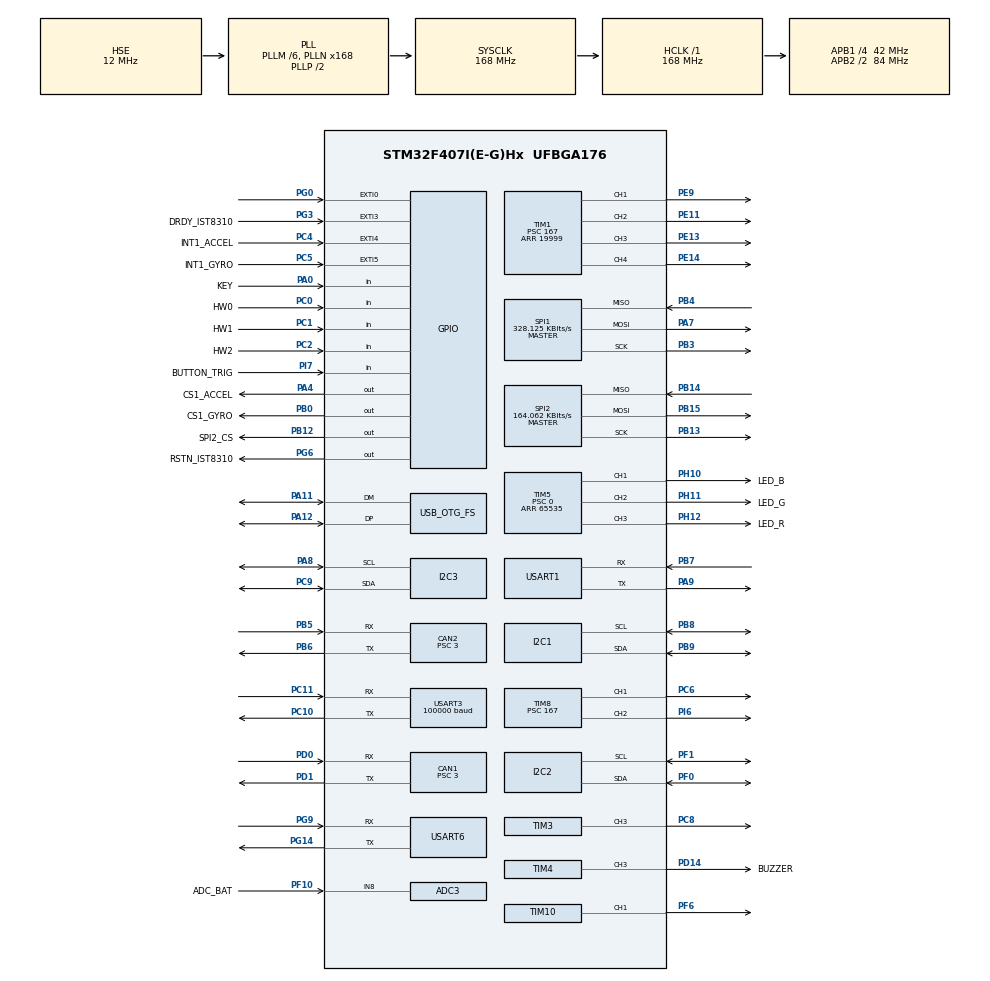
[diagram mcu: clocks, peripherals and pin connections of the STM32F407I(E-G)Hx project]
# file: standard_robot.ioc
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ADC1.Channel-0\#ChannelRegularConversion=ADC_CHANNEL_TEMPSENSOR
ADC1.ClockPrescaler=ADC_CLOCK_SYNC_PCLK_DIV6
ADC1.NbrOfConversionFlag=1
ADC1.Rank-0\#ChannelRegularConversion=1
ADC1.SamplingTime-0\#ChannelRegularConversion=ADC_SAMPLETIME_3CYCLES
ADC1.master=1
ADC3.Channel-0\#ChannelRegularConversion=ADC_CHANNEL_8
ADC3.ClockPrescaler=ADC_CLOCK_SYNC_PCLK_DIV6
ADC3.NbrOfConversionFlag=1
ADC3.Rank-0\#ChannelRegularConversion=1
ADC3.SamplingTime-0\#ChannelRegularConversion=ADC_SAMPLETIME_3CYCLES
CAN1.BS1=CAN_BS1_10TQ
CAN1.BS2=CAN_BS2_3TQ
CAN1.CalculateBaudRate=1000000
CAN1.CalculateTimeQuantum=71.42857142857143
CAN1.Prescaler=3
CAN2.BS1=CAN_BS1_10TQ
CAN2.BS2=CAN_BS2_3TQ
CAN2.CalculateBaudRate=1000000
CAN2.CalculateTimeQuantum=71.42857142857143
CAN2.Prescaler=3
Dma.I2C2_TX.2.Direction=DMA_MEMORY_TO_PERIPH
Dma.I2C2_TX.2.FIFOMode=DMA_FIFOMODE_DISABLE
Dma.I2C2_TX.2.Instance=DMA1_Stream7
Dma.I2C2_TX.2.MemDataAlignment=DMA_MDATAALIGN_BYTE
Dma.I2C2_TX.2.MemInc=DMA_MINC_ENABLE
Dma.I2C2_TX.2.Mode=DMA_NORMAL
Dma.I2C2_TX.2.PeriphDataAlignment=DMA_PDATAALIGN_BYTE
Dma.I2C2_TX.2.PeriphInc=DMA_PINC_DISABLE
Dma.I2C2_TX.2.Priority=DMA_PRIORITY_HIGH
Dma.Request0=SPI1_RX
Dma.Request1=SPI1_TX
Dma.Request2=I2C2_TX
Dma.Request3=USART3_RX
Dma.Request4=USART6_RX
Dma.Request5=USART6_TX
Dma.Request6=USART1_TX
Dma.Request7=USART1_RX
Dma.SPI1_RX.0.Direction=DMA_PERIPH_TO_MEMORY
Dma.SPI1_RX.0.FIFOMode=DMA_FIFOMODE_DISABLE
Dma.SPI1_RX.0.Instance=DMA2_Stream2
Dma.SPI1_RX.0.MemDataAlignment=DMA_MDATAALIGN_BYTE
Dma.SPI1_RX.0.MemInc=DMA_MINC_ENABLE
Dma.SPI1_RX.0.Mode=DMA_NORMAL
Dma.SPI1_RX.0.PeriphDataAlignment=DMA_PDATAALIGN_BYTE
Dma.SPI1_RX.0.PeriphInc=DMA_PINC_DISABLE
Dma.SPI1_RX.0.Priority=DMA_PRIORITY_VERY_HIGH
Dma.SPI1_TX.1.Direction=DMA_MEMORY_TO_PERIPH
Dma.SPI1_TX.1.FIFOMode=DMA_FIFOMODE_DISABLE
Dma.SPI1_TX.1.Instance=DMA2_Stream3
Dma.SPI1_TX.1.MemDataAlignment=DMA_MDATAALIGN_BYTE
Dma.SPI1_TX.1.MemInc=DMA_MINC_ENABLE
Dma.SPI1_TX.1.Mode=DMA_NORMAL
Dma.SPI1_TX.1.PeriphDataAlignment=DMA_PDATAALIGN_BYTE
Dma.SPI1_TX.1.PeriphInc=DMA_PINC_DISABLE
Dma.SPI1_TX.1.Priority=DMA_PRIORITY_HIGH
Dma.USART1_RX.7.Direction=DMA_PERIPH_TO_MEMORY
Dma.USART1_RX.7.FIFOMode=DMA_FIFOMODE_DISABLE
Dma.USART1_RX.7.Instance=DMA2_Stream5
Dma.USART1_RX.7.MemDataAlignment=DMA_MDATAALIGN_BYTE
Dma.USART1_RX.7.MemInc=DMA_MINC_ENABLE
Dma.USART1_RX.7.Mode=DMA_CIRCULAR
Dma.USART1_RX.7.PeriphDataAlignment=DMA_PDATAALIGN_BYTE
Dma.USART1_RX.7.PeriphInc=DMA_PINC_DISABLE
Dma.USART1_RX.7.Priority=DMA_PRIORITY_MEDIUM
Dma.USART1_TX.6.Direction=DMA_MEMORY_TO_PERIPH
Dma.USART1_TX.6.FIFOMode=DMA_FIFOMODE_DISABLE
Dma.USART1_TX.6.Instance=DMA2_Stream7
Dma.USART1_TX.6.MemDataAlignment=DMA_MDATAALIGN_BYTE
Dma.USART1_TX.6.MemInc=DMA_MINC_ENABLE
Dma.USART1_TX.6.Mode=DMA_NORMAL
Dma.USART1_TX.6.PeriphDataAlignment=DMA_PDATAALIGN_BYTE
Dma.USART1_TX.6.PeriphInc=DMA_PINC_DISABLE
Dma.USART1_TX.6.Priority=DMA_PRIORITY_MEDIUM
Dma.USART3_RX.3.Direction=DMA_PERIPH_TO_MEMORY
Dma.USART3_RX.3.FIFOMode=DMA_FIFOMODE_DISABLE
Dma.USART3_RX.3.Instance=DMA1_Stream1
Dma.USART3_RX.3.MemDataAlignment=DMA_MDATAALIGN_BYTE
Dma.USART3_RX.3.MemInc=DMA_MINC_ENABLE
Dma.USART3_RX.3.Mode=DMA_NORMAL
Dma.USART3_RX.3.PeriphDataAlignment=DMA_PDATAALIGN_BYTE
Dma.USART3_RX.3.PeriphInc=DMA_PINC_DISABLE
Dma.USART3_RX.3.Priority=DMA_PRIORITY_HIGH
Dma.USART6_RX.4.Direction=DMA_PERIPH_TO_MEMORY
Dma.USART6_RX.4.FIFOMode=DMA_FIFOMODE_DISABLE
Dma.USART6_RX.4.Instance=DMA2_Stream1
Dma.USART6_RX.4.MemDataAlignment=DMA_MDATAALIGN_BYTE
Dma.USART6_RX.4.MemInc=DMA_MINC_ENABLE
Dma.USART6_RX.4.Mode=DMA_NORMAL
Dma.USART6_RX.4.PeriphDataAlignment=DMA_PDATAALIGN_BYTE
Dma.USART6_RX.4.PeriphInc=DMA_PINC_DISABLE
Dma.USART6_RX.4.Priority=DMA_PRIORITY_HIGH
Dma.USART6_TX.5.Direction=DMA_MEMORY_TO_PERIPH
Dma.USART6_TX.5.FIFOMode=DMA_FIFOMODE_DISABLE
Dma.USART6_TX.5.Instance=DMA2_Stream6
Dma.USART6_TX.5.MemDataAlignment=DMA_MDATAALIGN_BYTE
Dma.USART6_TX.5.MemInc=DMA_MINC_ENABLE
Dma.USART6_TX.5.Mode=DMA_NORMAL
Dma.USART6_TX.5.PeriphDataAlignment=DMA_PDATAALIGN_BYTE
Dma.USART6_TX.5.PeriphInc=DMA_PINC_DISABLE
Dma.USART6_TX.5.Priority=DMA_PRIORITY_MEDIUM
FREERTOS.INCLUDE_eTaskGetState=1
FREERTOS.INCLUDE_pcTaskGetTaskName=1
FREERTOS.INCLUDE_uxTaskGetStackHighWaterMark=1
FREERTOS.INCLUDE_vTaskCleanUpResources=1
FREERTOS.INCLUDE_vTaskDelayUntil=1
FREERTOS.INCLUDE_xEventGroupSetBitFromISR=1
FREERTOS.INCLUDE_xQueueGetMutexHolder=1
FREERTOS.INCLUDE_xSemaphoreGetMutexHolder=1
FREERTOS.INCLUDE_xTaskAbortDelay=1
FREERTOS.INCLUDE_xTaskGetCurrentTaskHandle=1
FREERTOS.INCLUDE_xTaskGetHandle=1
FREERTOS.INCLUDE_xTimerPendFunctionCall=1
FREERTOS.Tasks01=test,24,128,test_task,As weak,NULL,Dynamic,NULL,NULL
FREERTOS.configTOTAL_HEAP_SIZE=24576
I2C1.I2C_Mode=I2C_Fast
I2C2.I2C_Mode=I2C_Fast
I2C3.I2C_Mode=I2C_Fast
Mcu.Family=STM32F4
Mcu.Name=STM32F407I(E-G)Hx
Mcu.Package=UFBGA176
NVIC.CAN1_RX0_IRQn=true\:6\:0\:true\:false\:true\:true\:true\:true\:true
NVIC.CAN2_RX0_IRQn=true\:6\:0\:true\:false\:true\:true\:true\:true\:true
NVIC.DMA1_Stream1_IRQn=true\:5\:0\:true\:false\:false\:true\:false\:false\:true
NVIC.DMA1_Stream7_IRQn=true\:5\:0\:true\:false\:false\:true\:false\:true\:true
NVIC.DMA2_Stream1_IRQn=true\:5\:0\:true\:false\:true\:true\:false\:true\:true
NVIC.DMA2_Stream2_IRQn=true\:5\:0\:true\:false\:false\:true\:false\:true\:true
NVIC.DMA2_Stream3_IRQn=true\:5\:0\:true\:false\:false\:true\:false\:true\:true
NVIC.DMA2_Stream5_IRQn=true\:5\:0\:false\:false\:true\:true\:false\:true\:true
NVIC.DMA2_Stream6_IRQn=true\:5\:0\:true\:false\:true\:true\:false\:true\:true
NVIC.DMA2_Stream7_IRQn=true\:5\:0\:true\:false\:true\:true\:false\:true\:true
NVIC.EXTI0_IRQn=true\:6\:0\:true\:false\:true\:true\:true\:true\:true
NVIC.EXTI3_IRQn=true\:5\:0\:true\:false\:true\:true\:true\:true\:true
NVIC.EXTI4_IRQn=true\:5\:0\:true\:false\:true\:true\:true\:true\:true
NVIC.EXTI9_5_IRQn=true\:5\:0\:true\:false\:true\:true\:true\:true\:true
NVIC.OTG_FS_IRQn=true\:5\:0\:false\:false\:true\:true\:false\:true\:true
NVIC.PriorityGroup=NVIC_PRIORITYGROUP_4
NVIC.USART1_IRQn=true\:5\:0\:false\:false\:true\:true\:true\:true\:true
NVIC.USART3_IRQn=true\:4\:0\:true\:false\:false\:false\:true\:true\:true
NVIC.USART6_IRQn=true\:5\:0\:true\:false\:false\:true\:true\:true\:true
PA0-WKUP.GPIO_Label=KEY
PA0-WKUP.GPIO_PuPd=GPIO_PULLUP
PA0-WKUP.Signal=GPIO_Input
PA11.Mode=Device_Only
PA11.Signal=USB_OTG_FS_DM
PA12.Mode=Device_Only
PA12.Signal=USB_OTG_FS_DP
PA13.Mode=Serial_Wire
PA13.Signal=SYS_JTMS-SWDIO
PA14.Mode=Serial_Wire
PA14.Signal=SYS_JTCK-SWCLK
PA4.GPIO_Label=CS1_ACCEL
PA4.GPIO_PuPd=GPIO_PULLUP
PA4.GPIO_Speed=GPIO_SPEED_FREQ_HIGH
PA4.PinState=GPIO_PIN_SET
PA4.Signal=GPIO_Output
PA7.GPIO_PuPd=GPIO_PULLUP
PA7.Mode=Full_Duplex_Master
PA7.Signal=SPI1_MOSI
PA8.GPIO_Pu=GPIO_PULLUP
PA8.Mode=I2C
PA8.Signal=I2C3_SCL
PA9.Mode=Asynchronous
PA9.Signal=USART1_TX
PB0.GPIO_Label=CS1_GYRO
PB0.GPIO_PuPd=GPIO_PULLUP
PB0.GPIO_Speed=GPIO_SPEED_FREQ_HIGH
PB0.PinState=GPIO_PIN_SET
PB0.Signal=GPIO_Output
PB12.GPIO_Label=SPI2_CS
PB12.GPIO_PuPd=GPIO_PULLUP
PB12.GPIO_Speed=GPIO_SPEED_FREQ_MEDIUM
PB12.PinState=GPIO_PIN_SET
PB12.Signal=GPIO_Output
PB13.GPIO_PuPd=GPIO_PULLUP
PB13.Mode=Full_Duplex_Master
PB13.Signal=SPI2_SCK
PB14.GPIO_PuPd=GPIO_PULLUP
PB14.Mode=Full_Duplex_Master
PB14.Signal=SPI2_MISO
PB15.GPIO_PuPd=GPIO_PULLUP
PB15.Mode=Full_Duplex_Master
PB15.Signal=SPI2_MOSI
PB3.GPIO_PuPd=GPIO_PULLUP
PB3.Mode=Full_Duplex_Master
PB3.Signal=SPI1_SCK
PB4.GPIO_PuPd=GPIO_PULLUP
PB4.Mode=Full_Duplex_Master
PB4.Signal=SPI1_MISO
PB5.Mode=CAN_Activate
PB5.Signal=CAN2_RX
PB6.Mode=CAN_Activate
PB6.Signal=CAN2_TX
PB7.Mode=Asynchronous
PB7.Signal=USART1_RX
PB8.GPIO_Pu=GPIO_PULLUP
PB8.Mode=I2C
PB8.Signal=I2C1_SCL
PB9.GPIO_Pu=GPIO_PULLUP
PB9.Mode=I2C
PB9.Signal=I2C1_SDA
PC0.GPIO_Label=HW0
PC0.Signal=GPIO_Input
PC1.GPIO_Label=HW1
PC1.Signal=GPIO_Input
PC10.Mode=Asynchronous
PC10.Signal=USART3_TX
PC11.Mode=Asynchronous
PC11.Signal=USART3_RX
PC2.GPIO_Label=HW2
PC2.Signal=GPIO_Input
PC4.GPIO_Label=INT1_ACCEL
PC4.GPIO_ModeDefaultEXTI=GPIO_MODE_IT_FALLING
PC4.GPIO_PuPd=GPIO_PULLUP
PC4.Signal=GPXTI4
PC5.GPIO_Label=INT1_GYRO
PC5.GPIO_ModeDefaultEXTI=GPIO_MODE_IT_FALLING
PC5.GPIO_PuPd=GPIO_PULLUP
PC5.Signal=GPXTI5
PC6.GPIO_PuPd=GPIO_PULLUP
PC6.GPIO_Speed=GPIO_SPEED_FREQ_HIGH
PC6.Signal=S_TIM8_CH1
PC8.GPIO_PuPd=GPIO_PULLUP
PC8.GPIO_Speed=GPIO_SPEED_FREQ_HIGH
PC8.Signal=S_TIM3_CH3
PC9.GPIO_Pu=GPIO_PULLUP
PC9.Mode=I2C
PC9.Signal=I2C3_SDA
PD0.Mode=CAN_Activate
PD0.Signal=CAN1_RX
PD1.Mode=CAN_Activate
PD1.Signal=CAN1_TX
PD14.GPIO_Label=BUZZER
PD14.GPIO_PuPd=GPIO_PULLUP
PD14.GPIO_Speed=GPIO_SPEED_FREQ_VERY_HIGH
PD14.Signal=S_TIM4_CH3
PE11.GPIO_PuPd=GPIO_PULLUP
PE11.GPIO_Speed=GPIO_SPEED_FREQ_HIGH
PE11.Signal=S_TIM1_CH2
PE13.GPIO_PuPd=GPIO_PULLUP
PE13.GPIO_Speed=GPIO_SPEED_FREQ_HIGH
PE13.Signal=S_TIM1_CH3
PE14.GPIO_PuPd=GPIO_PULLUP
PE14.GPIO_Speed=GPIO_SPEED_FREQ_HIGH
PE14.Signal=S_TIM1_CH4
PE9.GPIO_PuPd=GPIO_PULLUP
PE9.GPIO_Speed=GPIO_SPEED_FREQ_HIGH
PE9.Signal=S_TIM1_CH1
PF0.GPIO_Pu=GPIO_PULLUP
PF0.Mode=I2C
PF0.Signal=I2C2_SDA
PF1.GPIO_Pu=GPIO_PULLUP
PF1.Mode=I2C
PF1.Signal=I2C2_SCL
PF10.GPIO_Label=ADC_BAT
PF10.Mode=IN8
PF10.Signal=ADC3_IN8
PF6.GPIO_PuPd=GPIO_PULLUP
PF6.GPIO_Speed=GPIO_SPEED_FREQ_HIGH
PF6.Signal=S_TIM10_CH1
PG0.GPIO_ModeDefaultEXTI=GPIO_MODE_IT_FALLING
PG0.GPIO_PuPd=GPIO_PULLUP
PG0.Signal=GPXTI0
PG14.Mode=Asynchronous
PG14.Signal=USART6_TX
PG3.GPIO_Label=DRDY_IST8310
PG3.GPIO_ModeDefaultEXTI=GPIO_MODE_IT_FALLING
PG3.GPIO_PuPd=GPIO_PULLUP
PG3.Signal=GPXTI3
PG6.GPIO_Label=RSTN_IST8310
PG6.GPIO_PuPd=GPIO_PULLUP
PG6.GPIO_Speed=GPIO_SPEED_FREQ_MEDIUM
PG6.PinState=GPIO_PIN_SET
PG6.Signal=GPIO_Output
PG9.Mode=Asynchronous
PG9.Signal=USART6_RX
PH0-OSC_IN.Mode=HSE-External-Oscillator
PH0-OSC_IN.Signal=RCC_OSC_IN
PH1-OSC_OUT.Mode=HSE-External-Oscillator
PH1-OSC_OUT.Signal=RCC_OSC_OUT
PH10.GPIO_Label=LED_B
PH10.GPIO_PuPd=GPIO_PULLUP
PH10.GPIO_Speed=GPIO_SPEED_FREQ_HIGH
PH10.Signal=S_TIM5_CH1
PH11.GPIO_Label=LED_G
PH11.GPIO_PuPd=GPIO_PULLUP
PH11.GPIO_Speed=GPIO_SPEED_FREQ_HIGH
PH11.Signal=S_TIM5_CH2
PH12.GPIO_Label=LED_R
PH12.GPIO_PuPd=GPIO_PULLUP
PH12.GPIO_Speed=GPIO_SPEED_FREQ_HIGH
PH12.Signal=S_TIM5_CH3
PI6.GPIO_PuPd=GPIO_PULLUP
PI6.GPIO_Speed=GPIO_SPEED_FREQ_HIGH
PI6.Signal=S_TIM8_CH2
PI7.GPIO_Label=BUTTON_TRIG
PI7.GPIO_PuPd=GPIO_PULLUP
PI7.Signal=GPIO_Input
ProjectManager.HeapSize=0x2000
ProjectManager.StackSize=0x2000
ProjectManager.TargetToolchain=CMake
RCC.48MHZClocksFreq_Value=48000000
RCC.AHBFreq_Value=168000000
RCC.APB1CLKDivider=RCC_HCLK_DIV4
RCC.APB1Freq_Value=42000000
RCC.APB1TimFreq_Value=84000000
RCC.APB2CLKDivider=RCC_HCLK_DIV2
RCC.APB2Freq_Value=84000000
RCC.APB2TimFreq_Value=168000000
RCC.CortexFreq_Value=168000000
RCC.HCLKFreq_Value=168000000
RCC.HSE_VALUE=12000000
RCC.HSI_VALUE=16000000
RCC.LSE_VALUE=32768
RCC.PLLM=6
RCC.PLLN=168
RCC.PLLQ=7
RCC.RCC_RTC_Clock_SourceVirtual=RCC_RTCCLKSOURCE_HSE_DIV30
RCC.RCC_RTC_Clock_Source_FROM_HSE=RCC_RTCCLKSOURCE_HSE_DIV30
RCC.SYSCLKFreq_VALUE=168000000
RCC.SYSCLKSource=RCC_SYSCLKSOURCE_PLLCLK
RCC.VCOOutputFreq_Value=336000000
RTC.AsynchPrediv=124
RTC.SynchPrediv=3199
SH.S_TIM10_CH1.0=TIM10_CH1,PWM Generation1 CH1
SH.S_TIM1_CH1.0=TIM1_CH1,PWM Generation1 CH1
SH.S_TIM1_CH2.0=TIM1_CH2,PWM Generation2 CH2
SH.S_TIM1_CH3.0=TIM1_CH3,PWM Generation3 CH3
SH.S_TIM1_CH4.0=TIM1_CH4,PWM Generation4 CH4
SH.S_TIM3_CH3.0=TIM3_CH3,PWM Generation3 CH3
SH.S_TIM4_CH3.0=TIM4_CH3,PWM Generation3 CH3
SH.S_TIM5_CH1.0=TIM5_CH1,PWM Generation1 CH1
SH.S_TIM5_CH2.0=TIM5_CH2,PWM Generation2 CH2
SH.S_TIM5_CH3.0=TIM5_CH3,PWM Generation3 CH3
SH.S_TIM8_CH1.0=TIM8_CH1,PWM Generation1 CH1
SH.S_TIM8_CH2.0=TIM8_CH2,PWM Generation2 CH2
SPI1.BaudRatePrescaler=SPI_BAUDRATEPRESCALER_256
SPI1.CLKPhase=SPI_PHASE_2EDGE
SPI1.CLKPolarity=SPI_POLARITY_HIGH
SPI1.CalculateBaudRate=328.125 KBits/s
SPI1.Direction=SPI_DIRECTION_2LINES
SPI1.Mode=SPI_MODE_MASTER
SPI1.VirtualType=VM_MASTER
SPI2.BaudRatePrescaler=SPI_BAUDRATEPRESCALER_256
SPI2.CLKPhase=SPI_PHASE_2EDGE
SPI2.CLKPolarity=SPI_POLARITY_HIGH
SPI2.CalculateBaudRate=164.062 KBits/s
SPI2.Direction=SPI_DIRECTION_2LINES
SPI2.Mode=SPI_MODE_MASTER
SPI2.VirtualType=VM_MASTER
TIM1.Channel-PWM\ Generation1\ CH1=TIM_CHANNEL_1
TIM1.Channel-PWM\ Generation2\ CH2=TIM_CHANNEL_2
TIM1.Channel-PWM\ Generation3\ CH3=TIM_CHANNEL_3
TIM1.Channel-PWM\ Generation4\ CH4=TIM_CHANNEL_4
TIM1.Period=19999
TIM1.Prescaler=167
TIM1.Pulse-PWM\ Generation1\ CH1=1000
TIM1.Pulse-PWM\ Generation2\ CH2=1000
TIM1.Pulse-PWM\ Generation3\ CH3=1000
TIM1.Pulse-PWM\ Generation4\ CH4=1000
TIM10.Channel=TIM_CHANNEL_1
TIM10.Period=4999
TIM3.Channel-PWM\ Generation3\ CH3=TIM_CHANNEL_3
TIM3.Period=8399
TIM4.Channel-PWM\ Generation3\ CH3=TIM_CHANNEL_3
TIM4.Period=65535
TIM4.Prescaler=167
TIM5.Channel-PWM\ Generation1\ CH1=TIM_CHANNEL_1
TIM5.Channel-PWM\ Generation2\ CH2=TIM_CHANNEL_2
TIM5.Channel-PWM\ Generation3\ CH3=TIM_CHANNEL_3
TIM5.Period=65535
TIM5.Prescaler=0
TIM8.Channel-PWM\ Generation1\ CH1=TIM_CHANNEL_1
TIM8.Channel-PWM\ Generation2\ CH2=TIM_CHANNEL_2
TIM8.Period=19999
TIM8.Prescaler=167
TIM8.Pulse-PWM\ Generation1\ CH1=1000
TIM8.Pulse-PWM\ Generation2\ CH2=1000
USART1.VirtualMode=VM_ASYNC
USART3.BaudRate=100000
USART3.Parity=PARITY_EVEN
USART3.VirtualMode=VM_ASYNC
USART6.VirtualMode=VM_ASYNC
USB_DEVICE.CLASS_NAME_FS=CDC
USB_DEVICE.VirtualMode-CDC_FS=Cdc
USB_DEVICE.VirtualModeFS=Cdc_FS
USB_OTG_FS.VirtualMode=Device_Only
VP_ADC1_TempSens_Input.Mode=IN-TempSens
VP_ADC1_Vref_Input.Mode=IN-Vrefint
VP_CRC_VS_CRC.Mode=CRC_Activate
VP_FREERTOS_VS_CMSIS_V1.Mode=CMSIS_V1
VP_RNG_VS_RNG.Mode=RNG_Activate
VP_RTC_VS_RTC_Activate.Mode=RTC_Enabled
VP_TIM10_VS_ClockSourceINT.Mode=Enable_Timer
VP_TIM1_VS_ClockSourceINT.Mode=Internal
VP_TIM3_VS_ClockSourceINT.Mode=Internal
VP_TIM4_VS_ClockSourceINT.Mode=Internal
VP_TIM5_VS_ClockSourceINT.Mode=Internal
VP_TIM8_VS_ClockSourceINT.Mode=Internal
VP_USB_DEVICE_VS_USB_DEVICE_CDC_FS.Mode=CDC_FS
board=custom

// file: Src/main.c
/* USER CODE BEGIN Header */
/**
  ******************************************************************************
  * @file           : main.c
  * @brief          : Main program body
  ******************************************************************************
  * @attention
  *
  * <h2><center>&copy; Copyright (c) 2019 STMicroelectronics.
  * All rights reserved.</center></h2>
  *
  * This software component is licensed by ST under Ultimate Liberty license
  * SLA0044, the "License"; You may not use this file except in compliance with
  * the License. You may obtain a copy of the License at:
  *                             www.st.com/SLA0044
  *
  ******************************************************************************
  */
/* USER CODE END Header */
#include "main.h"
#include "cmsis_os.h"
#include "adc.h"
#include "can.h"
#include "crc.h"
#include "dma.h"
#include "i2c.h"
#include "rng.h"
#include "rtc.h"
#include "spi.h"
#include "tim.h"
#include "usart.h"
#include "usb_device.h"
#include "gpio.h"

/* USER CODE BEGIN Includes */
#include "bsp_can.h"
#include "bsp_delay.h"
#include "bsp_usart.h"
#include "remote_control.h"

#include "calibrate_task.h"
#include "chassis_task.h"
#include "detect_task.h"
#include "gimbal_task.h"
#include "INS_task.h"
#include "led_flow_task.h"
#include "oled_task.h"
#include "referee_usart_task.h"
#include "usb_task.h"
#include "voltage_task.h"
/* USER CODE END Includes */

void SystemClock_Config(void);
void MX_FREERTOS_Init(void);

int main(void)
{

  /* MCU Configuration--------------------------------------------------------*/

  /* Reset of all peripherals, Initializes the Flash interface and the Systick. */
  HAL_Init();

  /* Configure the system clock */
  SystemClock_Config();

  /* Initialize all configured peripherals */
  MX_GPIO_Init();
  MX_DMA_Init();
  MX_ADC1_Init();
  MX_ADC3_Init();
  MX_CAN1_Init();
  MX_CAN2_Init();
  MX_I2C1_Init();
  MX_SPI1_Init();
  MX_TIM4_Init();
  MX_TIM5_Init();
  MX_USART3_UART_Init();
  MX_TIM8_Init();
  MX_CRC_Init();
  MX_RNG_Init();
  MX_I2C2_Init();
  MX_I2C3_Init();
  MX_RTC_Init();
  MX_SPI2_Init();
  MX_TIM1_Init();
  MX_TIM3_Init();
  MX_TIM10_Init();
  MX_USART1_UART_Init();
  MX_USART6_UART_Init();
  /* USER CODE BEGIN 2 */
    can_filter_init();
    delay_init();
    cali_param_init();
    remote_control_init();
    usart1_tx_dma_init();
  /* USER CODE END 2 */

  /* Call init function for freertos objects (in cmsis_os2.c) */
  MX_FREERTOS_Init();

  /* Start scheduler */
  osKernelStart();

  /* We should never get here as control is now taken by the scheduler */

  /* Infinite loop */
  while (1)
  {

  }
}

void SystemClock_Config(void)
{
  RCC_OscInitTypeDef RCC_OscInitStruct = {0};
  RCC_ClkInitTypeDef RCC_ClkInitStruct = {0};

  /** Configure the main internal regulator output voltage
  */
  __HAL_RCC_PWR_CLK_ENABLE();
  __HAL_PWR_VOLTAGESCALING_CONFIG(PWR_REGULATOR_VOLTAGE_SCALE1);

  /** Initializes the RCC Oscillators according to the specified parameters
  * in the RCC_OscInitTypeDef structure.
  */
  RCC_OscInitStruct.OscillatorType = RCC_OSCILLATORTYPE_HSE;
  RCC_OscInitStruct.HSEState = RCC_HSE_ON;
  RCC_OscInitStruct.PLL.PLLState = RCC_PLL_ON;
  RCC_OscInitStruct.PLL.PLLSource = RCC_PLLSOURCE_HSE;
  RCC_OscInitStruct.PLL.PLLM = 6;
  RCC_OscInitStruct.PLL.PLLN = 168;
  RCC_OscInitStruct.PLL.PLLP = RCC_PLLP_DIV2;
  RCC_OscInitStruct.PLL.PLLQ = 7;
  if (HAL_RCC_OscConfig(&RCC_OscInitStruct) != HAL_OK)
  {
    Error_Handler();
  }

  /** Initializes the CPU, AHB and APB buses clocks
  */
  RCC_ClkInitStruct.ClockType = RCC_CLOCKTYPE_HCLK|RCC_CLOCKTYPE_SYSCLK
                              |RCC_CLOCKTYPE_PCLK1|RCC_CLOCKTYPE_PCLK2;
  RCC_ClkInitStruct.SYSCLKSource = RCC_SYSCLKSOURCE_PLLCLK;
  RCC_ClkInitStruct.AHBCLKDivider = RCC_SYSCLK_DIV1;
  RCC_ClkInitStruct.APB1CLKDivider = RCC_HCLK_DIV4;
  RCC_ClkInitStruct.APB2CLKDivider = RCC_HCLK_DIV2;

  if (HAL_RCC_ClockConfig(&RCC_ClkInitStruct, FLASH_LATENCY_5) != HAL_OK)
  {
    Error_Handler();
  }
}

void Error_Handler(void)
{
}

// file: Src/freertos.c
/* USER CODE BEGIN Header */
/**
  ******************************************************************************
  * File Name          : freertos.c
  * Description        : Code for freertos applications
  ******************************************************************************
  * @attention
  *
  * <h2><center>&copy; Copyright (c) 2019 STMicroelectronics.
  * All rights reserved.</center></h2>
  *
  * This software component is licensed by ST under Ultimate Liberty license
  * SLA0044, the "License"; You may not use this file except in compliance with
  * the License. You may obtain a copy of the License at:
  *                             www.st.com/SLA0044
  *
  ******************************************************************************
  */
/* USER CODE END Header */

#include "FreeRTOS.h"
#include "task.h"
#include "main.h"
#include "cmsis_os.h"

/* USER CODE BEGIN Includes */

#include "calibrate_task.h"
#include "chassis_task.h"
#include "detect_task.h"
#include "gimbal_task.h"
#include "INS_task.h"
#include "led_flow_task.h"
#include "oled_task.h"
#include "referee_usart_task.h"
#include "usb_task.h"
#include "voltage_task.h"
#include "servo_task.h"
#include "vofa_task.h"
/* USER CODE END Includes */

/* USER CODE BEGIN PTD */

osThreadId calibrate_tast_handle;
osThreadId chassisTaskHandle;
osThreadId detect_handle;
osThreadId gimbalTaskHandle;
osThreadId imuTaskHandle;
osThreadId led_RGB_flow_handle;
osThreadId oled_handle;
osThreadId referee_usart_task_handle;
osThreadId usb_task_handle;
osThreadId battery_voltage_handle;
osThreadId servo_task_handle;

/* USER CODE END PTD */

osThreadId testHandle;

void test_task(void const * argument);

extern void MX_USB_DEVICE_Init(void);
void MX_FREERTOS_Init(void); /* (MISRA C 2004 rule 8.1) */

/* GetIdleTaskMemory prototype (linked to static allocation support) */
void vApplicationGetIdleTaskMemory( StaticTask_t **ppxIdleTaskTCBBuffer, StackType_t **ppxIdleTaskStackBuffer, uint32_t *pulIdleTaskStackSize );

/* GetTimerTaskMemory prototype (linked to static allocation support) */
void vApplicationGetTimerTaskMemory( StaticTask_t **ppxTimerTaskTCBBuffer, StackType_t **ppxTimerTaskStackBuffer, uint32_t *pulTimerTaskStackSize );

/* USER CODE BEGIN GET_IDLE_TASK_MEMORY */
static StaticTask_t xIdleTaskTCBBuffer;
static StackType_t xIdleStack[configMINIMAL_STACK_SIZE];

void vApplicationGetIdleTaskMemory( StaticTask_t **ppxIdleTaskTCBBuffer, StackType_t **ppxIdleTaskStackBuffer, uint32_t *pulIdleTaskStackSize )
{
  *ppxIdleTaskTCBBuffer = &xIdleTaskTCBBuffer;
  *ppxIdleTaskStackBuffer = &xIdleStack[0];
  *pulIdleTaskStackSize = configMINIMAL_STACK_SIZE;
  /* place for user code */
}
/* USER CODE END GET_IDLE_TASK_MEMORY */

/* USER CODE BEGIN GET_TIMER_TASK_MEMORY */
static StaticTask_t xTimerTaskTCBBuffer;
static StackType_t xTimerStack[configTIMER_TASK_STACK_DEPTH];

void vApplicationGetTimerTaskMemory( StaticTask_t **ppxTimerTaskTCBBuffer, StackType_t **ppxTimerTaskStackBuffer, uint32_t *pulTimerTaskStackSize )
{
  *ppxTimerTaskTCBBuffer = &xTimerTaskTCBBuffer;
  *ppxTimerTaskStackBuffer = &xTimerStack[0];
  *pulTimerTaskStackSize = configTIMER_TASK_STACK_DEPTH;
  /* place for user code */
}
/* USER CODE END GET_TIMER_TASK_MEMORY */

void MX_FREERTOS_Init(void) {

  /* Create the thread(s) */
  /* definition and creation of test */
  osThreadDef(test, test_task, osPriorityNormal, 0, 128);
  testHandle = osThreadCreate(osThread(test), NULL);

  /* USER CODE BEGIN RTOS_THREADS */
  /* add threads, ... */
    osThreadDef(cali, calibrate_task, osPriorityNormal, 0, 512);
    calibrate_tast_handle = osThreadCreate(osThread(cali), NULL);

    // osThreadDef(ChassisTask, chassis_task, osPriorityAboveNormal, 0, 512);
    // chassisTaskHandle = osThreadCreate(osThread(ChassisTask), NULL);

    osThreadDef(DETECT, detect_task, osPriorityNormal, 0, 256);
    detect_handle = osThreadCreate(osThread(DETECT), NULL);

    osThreadDef(gimbalTask, gimbal_task, osPriorityHigh, 0, 512);
    gimbalTaskHandle = osThreadCreate(osThread(gimbalTask), NULL);

    osThreadDef(imuTask, INS_task, osPriorityRealtime, 0, 1024);
    imuTaskHandle = osThreadCreate(osThread(imuTask), NULL);

    osThreadDef(led, led_RGB_flow_task, osPriorityNormal, 0, 256);
    led_RGB_flow_handle = osThreadCreate(osThread(led), NULL);

    /* 未接OLED，禁用oled_task以释放1KB任务栈（2026-10-04） */
    // osThreadDef(OLED, oled_task, osPriorityLow, 0, 256);
    // oled_handle = osThreadCreate(osThread(OLED), NULL);

    osThreadDef(REFEREE, referee_usart_task, osPriorityNormal, 0, 128);
    referee_usart_task_handle = osThreadCreate(osThread(REFEREE), NULL);

    /* 无串口接收端，禁用usb_task以释放1KB任务栈（2026-10-04） */
    // osThreadDef(USBTask, usb_task, osPriorityNormal, 0, 256);
    // usb_task_handle = osThreadCreate(osThread(USBTask), NULL);

    osThreadDef(BATTERY_VOLTAGE, battery_voltage_task, osPriorityNormal, 0, 128);
    battery_voltage_handle = osThreadCreate(osThread(BATTERY_VOLTAGE), NULL);

    osThreadDef(SERVO, servo_task, osPriorityNormal, 0, 128);
    servo_task_handle = osThreadCreate(osThread(SERVO), NULL);

    //VOFA+ 上位机调参任务: USART1 蓝牙串口波形监看 + 在线调 PID (2026-10-04)
    osThreadDef(VOFA, vofa_task, osPriorityNormal, 0, 512);
    (void)osThreadCreate(osThread(VOFA), NULL);

  /* USER CODE END RTOS_THREADS */

}

__weak void test_task(void const * argument)
{
  /* init code for USB_DEVICE */
  MX_USB_DEVICE_Init();
  for(;;)
  {
    osDelay(1);
  }
}
